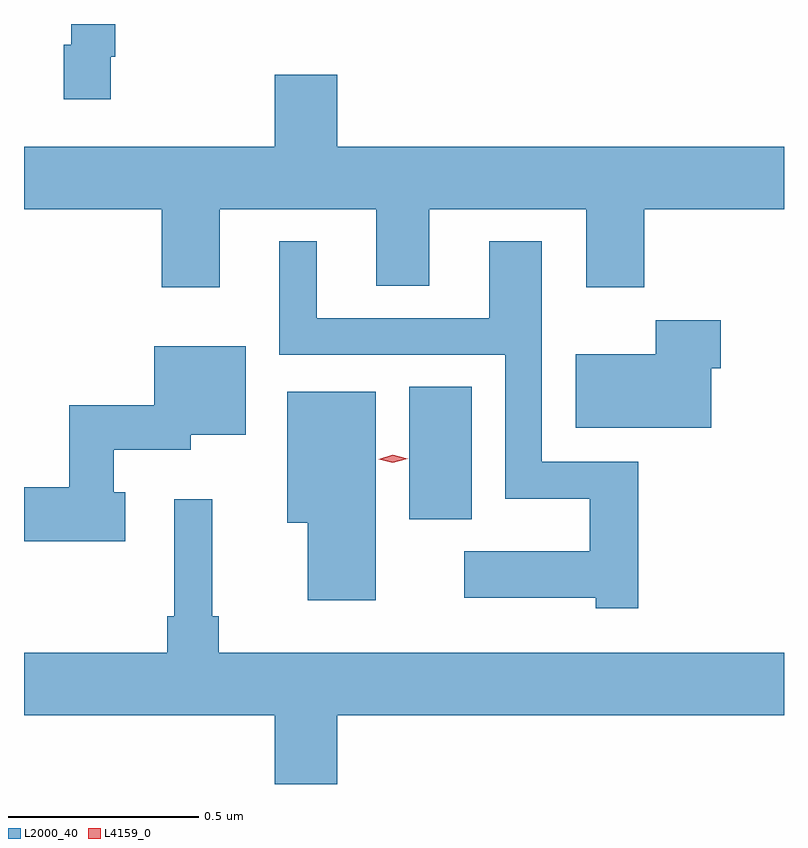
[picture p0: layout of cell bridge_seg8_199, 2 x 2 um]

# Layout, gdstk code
import gdstk
lib = gdstk.Library(unit=1e-6, precision=1e-09)
def R(c, l, rs):  # rectangles x0, y0, x1, y1
    for r in rs: c.add(gdstk.rectangle(r[:2], r[2:], *l))
def P(c, l, *ps):  # polygons
    for p in ps: c.add(gdstk.Polygon(p, *l))
L2000_40 = (2000, 40)
L4159_0 = (4159, 0)

bridge_seg8_199 = lib.new_cell('bridge_seg8_199')
R(bridge_seg8_199, L2000_40, [(249.278,1119.68,249.442,1120.028)])
P(bridge_seg8_199, L2000_40, [(248.492,1120.897),(248.504,1120.897),(248.504,1120.983),(248.388,1120.983),(248.388,1120.929),(248.369,1120.929),(248.369,1120.785),(248.492,1120.785)],
  [(248.779,1120.496),(249.191,1120.496),(249.191,1120.294),(249.331,1120.294),(249.331,1120.496),(249.743,1120.496),(249.743,1120.29),(249.896,1120.29),(249.896,1120.496),(250.264,1120.496),(250.264,1120.66),(249.088,1120.66),(249.088,1120.849),(248.924,1120.849),(248.924,1120.66),(248.264,1120.66),(248.264,1120.496),(248.627,1120.496),(248.627,1120.29),(248.779,1120.29)],
  [(249.881,1119.831),(249.627,1119.831),(249.627,1120.411),(249.488,1120.411),(249.488,1120.209),(249.034,1120.209),(249.034,1120.411),(248.936,1120.411),(248.936,1120.113),(249.531,1120.113),(249.531,1119.734),(249.753,1119.734),(249.753,1119.595),(249.423,1119.595),(249.423,1119.473),(249.768,1119.473),(249.768,1119.446),(249.881,1119.446)],
  [(250.072,1120.077),(250.097,1120.077),(250.097,1120.203),(249.926,1120.203),(249.926,1120.114),(249.716,1120.114),(249.716,1119.92),(250.072,1119.92)],
  [(248.53,1119.751),(248.5,1119.751),(248.5,1119.863),(248.703,1119.863),(248.703,1119.902),(248.848,1119.902),(248.848,1120.135),(248.607,1120.135),(248.607,1119.98),(248.383,1119.98),(248.383,1119.764),(248.264,1119.764),(248.264,1119.622),(248.53,1119.622)],
  [(249.19,1120.015),(248.957,1120.015),(248.957,1119.671),(249.011,1119.671),(249.011,1119.467),(249.19,1119.467)],
  [(249.088,1119.164),(250.264,1119.164),(250.264,1119.328),(248.777,1119.328),(248.777,1119.424),(248.76,1119.424),(248.76,1119.733),(248.66,1119.733),(248.66,1119.424),(248.641,1119.424),(248.641,1119.328),(248.264,1119.328),(248.264,1119.164),(248.924,1119.164),(248.924,1118.983),(249.088,1118.983)])
P(bridge_seg8_199, L4159_0, [(249.235,1119.829),(249.197,1119.838),(249.196,1119.838),(249.197,1119.838),(249.235,1119.849),(249.274,1119.839),(249.274,1119.839),(249.274,1119.839)])

lib.write_gds('bridge_seg8_199.gds')
